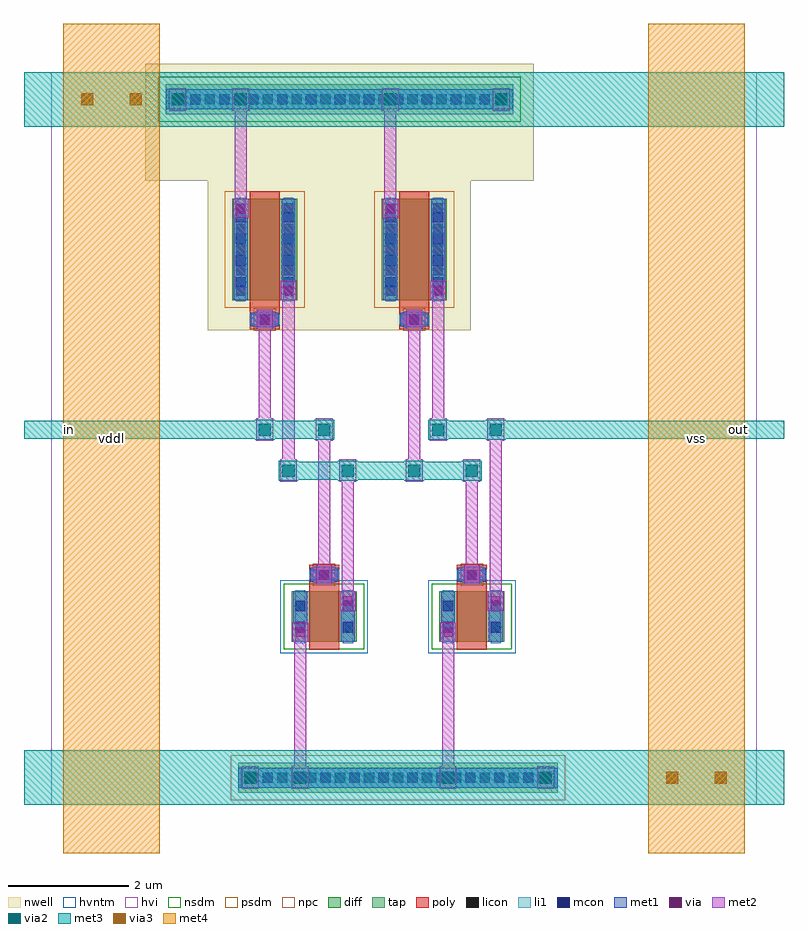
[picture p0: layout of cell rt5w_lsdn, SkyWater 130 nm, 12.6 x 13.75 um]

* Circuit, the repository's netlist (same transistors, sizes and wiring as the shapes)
** sch_path: /home/claude/rt5w_sky/tt/xschem/rt5w_lsdn.sch
.subckt rt5w_lsdn in out vddl vss
*.ipin in
*.opin out
*.iopin vddl
XMap mid in vddl vddl sky130_fd_pr__pfet_g5v0d10v5 L=0.5 W=1.68 nf=1 ad=0.4872 as=0.4872 pd=3.94 ps=3.94 nrd=0.1726 nrs=0.1726
+ sa=0 sb=0 sd=0 mult=1 m=1
XMan mid in vss vss sky130_fd_pr__nfet_g5v0d10v5 L=0.5 W=0.84 nf=1 ad=0.2436 as=0.2436 pd=2.26 ps=2.26 nrd=0.3452 nrs=0.3452 sa=0
+ sb=0 sd=0 mult=1 m=1
XMbp out mid vddl vddl sky130_fd_pr__pfet_g5v0d10v5 L=0.5 W=1.68 nf=1 ad=0.4872 as=0.4872 pd=3.94 ps=3.94 nrd=0.1726 nrs=0.1726
+ sa=0 sb=0 sd=0 mult=1 m=1
XMbn out mid vss vss sky130_fd_pr__nfet_g5v0d10v5 L=0.5 W=0.84 nf=1 ad=0.2436 as=0.2436 pd=2.26 ps=2.26 nrd=0.3452 nrs=0.3452 sa=0
+ sb=0 sd=0 mult=1 m=1
.ends
.GLOBAL vss
.end

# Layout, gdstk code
import gdstk
lib = gdstk.Library(unit=1e-6, precision=1e-09)
def R(c, l, rs):  # rectangles x0, y0, x1, y1
    for r in rs: c.add(gdstk.rectangle(r[:2], r[2:], *l))
def A(c, l, x, y, w, h, nx, ny, dx, dy):  # array of equal rectangles
    R(c, l, [(x+i*dx, y+j*dy, x+i*dx+w, y+j*dy+h) for i in range(nx) for j in range(ny)])
nwell = (64, 20)
diff = (65, 20)
tap = (65, 44)
poly = (66, 20)
licon = (66, 44)
li1 = (67, 20)
mcon = (67, 44)
met1 = (68, 20)
via = (68, 44)
met2 = (69, 20)
via2 = (69, 44)
met3 = (70, 20)
via3 = (70, 44)
met4 = (71, 20)
hvi = (75, 20)
nsdm = (93, 44)
psdm = (94, 20)
npc = (95, 20)
hvntm = (125, 20)

pfet_w1p68_l0p5_nf1_b_ng = lib.new_cell('pfet_W1p68_L0p5_nf1_b_ng')
R(pfet_w1p68_l0p5_nf1_b_ng, nwell, [(-0.94,-1.16,0.94,1.42), (-0.72,-1.16,0.72,1.33)])
R(pfet_w1p68_l0p5_nf1_b_ng, diff, [(-0.54,-0.66,0.54,1.02)])
R(pfet_w1p68_l0p5_nf1_b_ng, poly, [(-0.25,-1.145,0.25,1.15)])
A(pfet_w1p68_l0p5_nf1_b_ng, licon, -0.48, -0.585, 0.17, 0.17, 1, 5, 0, 0.34)
A(pfet_w1p68_l0p5_nf1_b_ng, licon, 0.31, -0.585, 0.17, 0.17, 1, 5, 0, 0.34)
R(pfet_w1p68_l0p5_nf1_b_ng, licon, [(-0.085,-1.065,0.085,-0.895)])
R(pfet_w1p68_l0p5_nf1_b_ng, li1, [(-0.25,-1.065,0.25,-0.895), (-0.48,-0.68,-0.31,1.04), (0.31,-0.68,0.48,1.04)])
A(pfet_w1p68_l0p5_nf1_b_ng, mcon, -0.48, -0.445, 0.17, 0.17, 1, 4, 0, 0.36)
A(pfet_w1p68_l0p5_nf1_b_ng, mcon, 0.31, -0.445, 0.17, 0.17, 1, 4, 0, 0.36)
R(pfet_w1p68_l0p5_nf1_b_ng, mcon, [(-0.085,-1.065,0.085,-0.895)])
R(pfet_w1p68_l0p5_nf1_b_ng, met1, [(-0.23,-1.095,0.23,-0.865), (-0.51,-0.66,-0.28,1.02), (0.28,-0.66,0.51,1.02)])
R(pfet_w1p68_l0p5_nf1_b_ng, hvi, [(-0.72,-1.16,0.72,-0.845), (-0.725,-0.845,0.725,1.205), (-0.72,1.205,0.72,1.33)])
R(pfet_w1p68_l0p5_nf1_b_ng, psdm, [(-0.665,-0.785,0.665,1.145)])
R(pfet_w1p68_l0p5_nf1_b_ng, npc, [(-0.185,-1.165,0.185,-0.795)])

nfet_w0p84_l0p5_nf1_t_ng = lib.new_cell('nfet_W0p84_L0p5_nf1_t_ng')
R(nfet_w0p84_l0p5_nf1_t_ng, diff, [(-0.54,-0.575,0.54,0.265)])
R(nfet_w0p84_l0p5_nf1_t_ng, poly, [(-0.25,-0.705,0.25,0.705)])
R(nfet_w0p84_l0p5_nf1_t_ng, licon, [(-0.48,-0.41,-0.31,-0.24), (0.31,-0.41,0.48,-0.24), (-0.48,-0.07,-0.31,0.1), (0.31,-0.07,0.48,0.1), (-0.085,0.455,0.085,0.625)])
R(nfet_w0p84_l0p5_nf1_t_ng, li1, [(-0.48,-0.595,-0.31,0.285), (0.31,-0.595,0.48,0.285), (-0.25,0.455,0.25,0.625)])
R(nfet_w0p84_l0p5_nf1_t_ng, mcon, [(-0.48,-0.42,-0.31,-0.25), (0.31,-0.42,0.48,-0.25), (-0.48,-0.06,-0.31,0.11), (0.31,-0.06,0.48,0.11), (-0.085,0.455,0.085,0.625)])
R(nfet_w0p84_l0p5_nf1_t_ng, met1, [(-0.51,-0.575,-0.28,0.265), (0.28,-0.575,0.51,0.265), (-0.23,0.425,0.23,0.655)])
R(nfet_w0p84_l0p5_nf1_t_ng, hvi, [(-0.725,-0.76,0.725,0.45)])
R(nfet_w0p84_l0p5_nf1_t_ng, nsdm, [(-0.665,-0.7,0.665,0.39)])
R(nfet_w0p84_l0p5_nf1_t_ng, npc, [(-0.185,0.355,0.185,0.725)])
R(nfet_w0p84_l0p5_nf1_t_ng, hvntm, [(-0.725,-0.76,0.725,0.45)])

rt5w_lsdn = lib.new_cell('rt5w_lsdn')
R(rt5w_lsdn, nwell, [(0,-4.28,4.36,-1.7), (-1.04,-1.8,5.4,-0.45), (-1.04,-1.04,5.4,0.14)])
R(rt5w_lsdn, tap, [(0.5,-11.945,5.8,-11.445), (-0.7,-0.7,5.06,-0.2)])
A(rt5w_lsdn, licon, 0.665, -11.78, 0.17, 0.17, 11, 1, 0.48, 0)
A(rt5w_lsdn, licon, -0.535, -0.535, 0.17, 0.17, 11, 1, 0.48, 0)
R(rt5w_lsdn, li1, [(0.545,-11.86,5.755,-11.53), (-0.655,-0.615,5.015,-0.285)])
A(rt5w_lsdn, mcon, 0.905, -11.78, 0.17, 0.17, 10, 1, 0.48, 0)
A(rt5w_lsdn, mcon, -0.295, -0.535, 0.17, 0.17, 11, 1, 0.48, 0)
R(rt5w_lsdn, met1, [(0.5,-11.86,5.8,-11.53), (0.54,-11.825,0.86,-11.565), (5.44,-11.825,5.76,-11.565), (1.4,-9.445,1.66,-9.125), (3.85,-9.445,4.11,-9.125), (2.19,-8.925,2.45,-8.605), (4.64,-8.925,4.9,-8.605), (1.765,-8.46,2.085,-8.2), (4.215,-8.46,4.535,-8.2), (0.78,-4.23,1.1,-3.97), (3.26,-4.23,3.58,-3.97), (1.205,-3.78,1.465,-3.46), (3.685,-3.78,3.945,-3.46), (0.415,-2.42,0.675,-2.1), (2.895,-2.42,3.155,-2.1), (-0.7,-0.615,5.06,-0.285), (-0.66,-0.58,-0.34,-0.32), (4.7,-0.58,5.02,-0.32)])
R(rt5w_lsdn, via, [(0.625,-11.77,0.775,-11.62), (5.525,-11.77,5.675,-11.62), (1.455,-9.36,1.605,-9.21), (3.905,-9.36,4.055,-9.21), (2.245,-8.84,2.395,-8.69), (4.695,-8.84,4.845,-8.69), (1.85,-8.405,2,-8.255), (4.3,-8.405,4.45,-8.255), (0.865,-4.175,1.015,-4.025), (3.345,-4.175,3.495,-4.025), (1.26,-3.695,1.41,-3.545), (3.74,-3.695,3.89,-3.545), (0.47,-2.335,0.62,-2.185), (2.95,-2.335,3.1,-2.185), (-0.575,-0.525,-0.425,-0.375), (4.785,-0.525,4.935,-0.375)])
R(rt5w_lsdn, met2, [(0.56,-11.88,0.84,-11.51), (1.39,-11.88,1.67,-11.51), (3.84,-11.88,4.12,-11.51), (5.46,-11.88,5.74,-11.51), (0.57,-11.855,0.83,-11.535), (5.47,-11.855,5.73,-11.535), (1.43,-11.795,1.63,-9.185), (3.88,-11.795,4.08,-9.185), (1.4,-9.445,1.66,-9.125), (3.85,-9.445,4.11,-9.125), (2.19,-8.925,2.45,-8.605), (4.64,-8.925,4.9,-8.605), (2.22,-8.865,2.42,-6.505), (4.67,-8.865,4.87,-5.825), (1.795,-8.49,2.055,-8.17), (4.245,-8.49,4.505,-8.17), (1.825,-8.43,2.025,-5.825), (4.275,-8.43,4.475,-6.505), (1.195,-6.79,1.475,-6.42), (2.18,-6.79,2.46,-6.42), (3.28,-6.79,3.56,-6.42), (4.235,-6.79,4.515,-6.42), (1.235,-6.705,1.435,-3.52), (3.32,-6.705,3.52,-4), (0.8,-6.11,1.08,-5.74), (1.785,-6.11,2.065,-5.74), (3.675,-6.11,3.955,-5.74), (4.63,-6.11,4.91,-5.74), (0.84,-6.025,1.04,-4), (3.715,-6.025,3.915,-3.52), (0.81,-4.26,1.07,-3.94), (3.29,-4.26,3.55,-3.94), (1.205,-3.78,1.465,-3.46), (3.685,-3.78,3.945,-3.46), (0.415,-2.42,0.675,-2.1), (2.895,-2.42,3.155,-2.1), (0.445,-2.36,0.645,-0.35), (2.925,-2.36,3.125,-0.35), (-0.64,-0.635,-0.36,-0.265), (0.405,-0.635,0.685,-0.265), (2.885,-0.635,3.165,-0.265), (4.72,-0.635,5,-0.265), (-0.63,-0.61,-0.37,-0.29), (4.73,-0.61,4.99,-0.29)])
R(rt5w_lsdn, via2, [(0.6,-11.795,0.8,-11.595), (1.43,-11.795,1.63,-11.595), (3.88,-11.795,4.08,-11.595), (5.5,-11.795,5.7,-11.595), (1.235,-6.705,1.435,-6.505), (2.22,-6.705,2.42,-6.505), (3.32,-6.705,3.52,-6.505), (4.275,-6.705,4.475,-6.505), (0.84,-6.025,1.04,-5.825), (1.825,-6.025,2.025,-5.825), (3.715,-6.025,3.915,-5.825), (4.67,-6.025,4.87,-5.825), (-0.6,-0.55,-0.4,-0.35), (0.445,-0.55,0.645,-0.35), (2.925,-0.55,3.125,-0.35), (4.76,-0.55,4.96,-0.35)])
R(rt5w_lsdn, met3, [(-3.05,-12.145,9.55,-11.245), (0.535,-11.86,0.865,-11.53), (1.365,-11.86,1.695,-11.53), (3.815,-11.86,4.145,-11.53), (5.435,-11.86,5.765,-11.53), (7.505,-11.86,7.895,-11.53), (8.305,-11.86,8.695,-11.53), (1.17,-6.77,1.5,-6.44), (2.155,-6.77,2.485,-6.44), (3.255,-6.77,3.585,-6.44), (4.21,-6.77,4.54,-6.44), (1.185,-6.755,4.525,-6.455), (0.775,-6.09,1.105,-5.76), (1.76,-6.09,2.09,-5.76), (3.65,-6.09,3.98,-5.76), (4.605,-6.09,4.935,-5.76), (-3.05,-6.075,-2.75,-5.775), (-2.75,-6.075,2.075,-5.775), (3.665,-6.075,9.25,-5.775), (9.25,-6.075,9.55,-5.775), (-3.05,-0.9,9.55,0), (-2.195,-0.615,-1.805,-0.285), (-1.395,-0.615,-1.005,-0.285), (-0.665,-0.615,-0.335,-0.285), (0.38,-0.615,0.71,-0.285), (2.86,-0.615,3.19,-0.285), (4.695,-0.615,5.025,-0.285)])
R(rt5w_lsdn, via3, [(7.6,-11.795,7.8,-11.595), (8.4,-11.795,8.6,-11.595), (-2.1,-0.55,-1.9,-0.35), (-1.3,-0.55,-1.1,-0.35)])
R(rt5w_lsdn, met4, [(-2.4,-12.945,-0.8,0.8), (7.3,-12.945,8.9,0.8), (7.45,-11.945,7.95,-11.445), (8.25,-11.945,8.75,-11.445), (-2.25,-0.7,-1.75,-0.2), (-1.45,-0.7,-0.95,-0.2)])
R(rt5w_lsdn, hvi, [(-2.6,-12.145,9.1,0)])
R(rt5w_lsdn, nsdm, [(-0.825,-0.825,5.185,-0.075)])
R(rt5w_lsdn, psdm, [(0.375,-12.07,5.925,-11.32)])
rt5w_lsdn.add(gdstk.Reference(pfet_w1p68_l0p5_nf1_b_ng, (0.94,-3.12)))
rt5w_lsdn.add(gdstk.Reference(pfet_w1p68_l0p5_nf1_b_ng, (3.42,-3.12)))
rt5w_lsdn.add(gdstk.Reference(nfet_w0p84_l0p5_nf1_t_ng, (1.925,-8.87)))
rt5w_lsdn.add(gdstk.Reference(nfet_w0p84_l0p5_nf1_t_ng, (4.375,-8.87)))
rt5w_lsdn.add(gdstk.Label('in', (-2.3,-5.925), layer=70, texttype=5))
rt5w_lsdn.add(gdstk.Label('out', (8.8,-5.925), layer=70, texttype=5))
rt5w_lsdn.add(gdstk.Label('vddl', (-1.6,-6.073), layer=71, texttype=5))
rt5w_lsdn.add(gdstk.Label('vss', (8.1,-6.073), layer=71, texttype=5))

lib.write_gds('rt5w_lsdn.gds')
